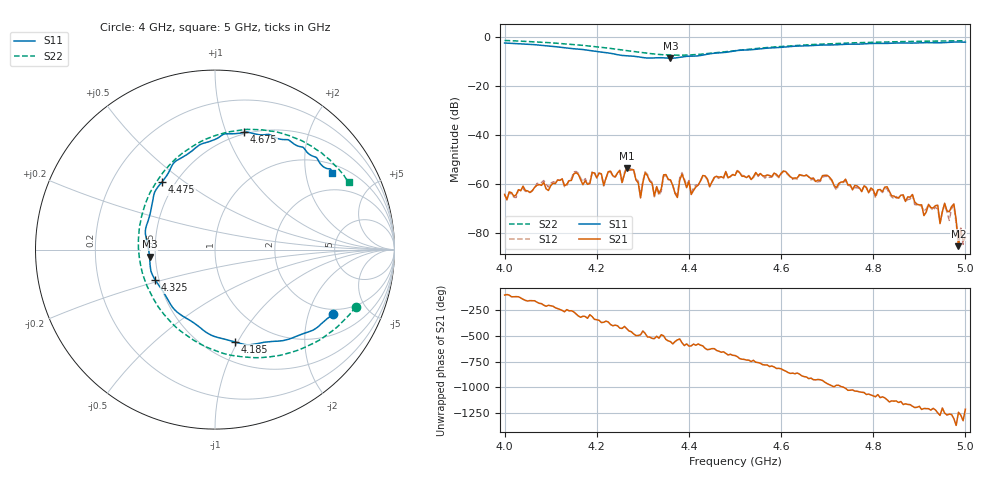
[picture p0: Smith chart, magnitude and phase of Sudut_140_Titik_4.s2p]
# Hz S RI R 50
! CMT, C1220, 16058040, 17.2.0/1
! Date: 15/08/2018 12:29:30
! Data: Format (Calibration Info)
! Freq  S11: Re/Im (F2)  S21: Re/Im (F2)  S12: Re/Im (F2)  S22: Re/Im (F2)
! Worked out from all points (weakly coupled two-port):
!   201 points, 4 GHz to 5 GHz, reference 50 ohm
!   highest |S21| = -53.44 dB at 4.265 GHz (marker M1); lowest = -85.2 dB at 4.985 GHz (marker M2)
!   lowest |S11| = -8.7 dB at 4.36 GHz (marker M3), VSWR 2.16, Z = 23.2 - j2.11 ohm
!   |S11| at or under -10 dB: nowhere
!   |S22| runs from -7.5 to -1.5 dB; largest |S21 - S12| = 0.00022
!   S11 on the Smith chart (normalised r, x): 4 GHz: 1.79, -2.94; 4.185 GHz: 0.69, -0.98; 4.325 GHz: 0.48, -0.19; 4.475 GHz: 0.42, +0.42; 4.675 GHz: 0.48, +1.16; 5 GHz: 1.29, +2.82
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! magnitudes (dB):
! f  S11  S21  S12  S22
! 4 GHz  -2.5  -64.1  -64.4  -1.5
! 4.17 GHz  -5.2  -60.2  -59.0  -3.5
! 4.185 GHz  -5.6  -59.7  -59.4  -3.7
! 4.265 GHz  -7.7  -53.4  -53.1  -5.6
! 4.295 GHz  -8.3  -65.6  -64.4  -6.3
! 4.305 GHz  -8.5  -55.3  -54.9  -6.6
! 4.325 GHz  -8.5  -64.8  -65.1  -7.0
! 4.335 GHz  -8.5  -63.7  -64.7  -7.1
! 4.36 GHz  -8.7  -58.3  -58.4  -7.4
! 4.375 GHz  -8.5  -65.4  -64.1  -7.5
! 4.385 GHz  -8.2  -55.9  -55.3  -7.4
! 4.405 GHz  -7.9  -64.2  -63.4  -7.3
! 4.475 GHz  -6.4  -57.4  -57.7  -6.1
! 4.5 GHz  -5.7  -56.4  -56.0  -5.6
! 4.67 GHz  -3.5  -57.5  -57.9  -3.1
! 4.675 GHz  -3.4  -58.9  -59.2  -3.1
! 4.835 GHz  -2.6  -62.9  -64.0  -2.0
! 4.94 GHz  -2.4  -68.6  -70.1  -1.7
! 4.945 GHz  -2.4  -76.0  -75.5  -1.7
! 4.975 GHz  -2.1  -68.1  -68.8  -1.6
! 4.985 GHz  -2.1  -85.2  -83.0  -1.6
! 5 GHz  -2.2  -81.6  -81.2  -1.6
